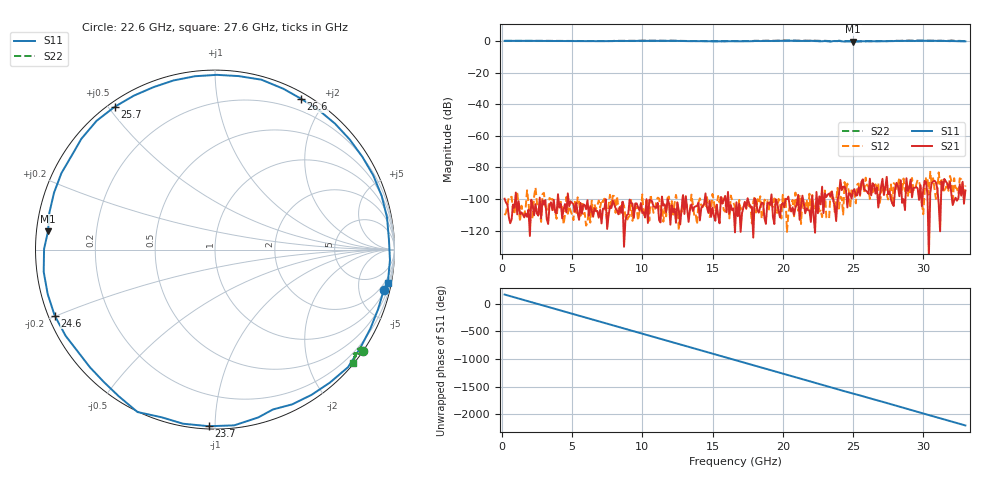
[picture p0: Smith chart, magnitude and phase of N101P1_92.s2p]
# GHZ S RI R 50
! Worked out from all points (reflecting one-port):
!   329 points, 200 MHz to 33 GHz, reference 50 ohm
!   lowest |S11| = -0.6 dB at 25 GHz (marker M1), VSWR 30.10, Z = 1.67 + j2.74 ohm
!   phase of S11 starts at 165 deg and turns -2369 deg over the sweep
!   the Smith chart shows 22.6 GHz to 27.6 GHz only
!   S11 on the Smith chart (normalised r, x): 22.6 GHz: 1.20, -8.28; 23.7 GHz: 0.01, -0.97; 24.6 GHz: 0.02, -0.20; 25.7 GHz: 0.02, +0.52; 26.6 GHz: 0.07, +1.72; 27.6 GHz: 1, -10
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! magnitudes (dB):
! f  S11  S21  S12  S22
! 200 MHz  0.0  -99.7  -110.1  0.0
! 5.7 GHz  -0.2  -109.2  -101.6  -0.1
! 11.2 GHz  0.0  -113.5  -99.6  0.1
! 16.6 GHz  -0.3  -121.0  -105.1  -0.2
! 20.4 GHz  0.1  -98.4  -108.6  0.2
! 22.1 GHz  0.0  -98.0  -97.4  0.2
! 22.6 GHz  -0.3  -98.2  -107.8  0.0
! 23 GHz  -0.1  -96.5  -94.6  0.1
! 23.4 GHz  -0.5  -98.3  -95.6  -0.3
! 23.7 GHz  -0.1  -104.5  -108.2  -0.1
! 24 GHz  0.0  -97.4  -106.0  0.1
! 24.3 GHz  -0.4  -92.2  -109.8  -0.2
! 24.6 GHz  -0.3  -105.3  -90.2  -0.2
! 25 GHz  -0.6  -94.8  -95.7  -0.3
! 25.7 GHz  -0.2  -87.5  -89.0  -0.3
! 26.6 GHz  -0.3  -96.5  -90.6  -0.2
! 27.6 GHz  -0.2  -95.1  -94.9  -0.1
! 29.6 GHz  0.1  -93.1  -87.8  0.2
! 31.1 GHz  0.0  -102.8  -83.2  0.2
! 31.4 GHz  0.0  -94.1  -94.6  0.0
! 32 GHz  -0.1  -96.4  -88.2  0.2
! 33 GHz  -0.3  -94.6  -91.4  -0.2
